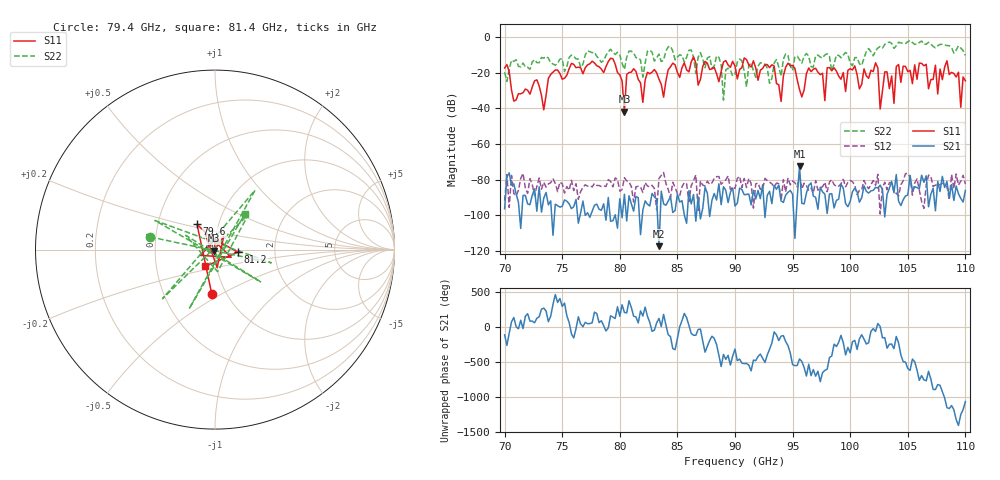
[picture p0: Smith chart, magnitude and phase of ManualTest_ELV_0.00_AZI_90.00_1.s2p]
! 11/25/2026 12:57:13 PM
! C:\ANRITSUVNA\TEMP\TEMP.S2P
! CHANNEL.1
! TR.MEASUREMENT
! RAW.DATA
# HZ S RI R 50.0
! FREQ.HZ  S11RE  S11IM  S21RE  S21IM  S12RE  S12IM  S22RE  S22IM
!; PortSelection: Port_12
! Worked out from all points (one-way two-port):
!   201 points, 70 GHz to 110 GHz, reference 50 ohm
!   highest |S21| = -72.51 dB at 95.6 GHz (marker M1); lowest = -117.3 dB at 83.4 GHz (marker M2)
!   lowest |S11| = -41.9 dB at 80.4 GHz (marker M3), VSWR 1.02, Z = 49.5 - j0.608 ohm
!   |S11| at or under -10 dB: start of sweep to end of sweep
!   |S22| runs from -35.4 to -2.0 dB; largest |S21 - S12| = 0.00018
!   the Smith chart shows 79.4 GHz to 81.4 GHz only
!   S11 on the Smith chart (normalised r, x): 79.4 GHz: 0.86, -0.45; 79.6 GHz: 0.79, +0.23; 81.2 GHz: 1.29, -0.04; 81.4 GHz: 0.88, -0.17
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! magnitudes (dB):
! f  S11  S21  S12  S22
! 70 GHz  -17.4  -96.4  -91.9  -19.8
! 73.4 GHz  -40.9  -90.3  -81.5  -11.8
! 74.2 GHz  -19.7  -111.2  -79.5  -15.2
! 76.8 GHz  -20.7  -92.0  -84.3  -15.4
! 79.4 GHz  -12.2  -103.1  -84.1  -8.7
! 79.6 GHz  -15.2  -99.7  -79.0  -9.8
! 80.4 GHz  -41.9  -88.2  -78.9  -18.1
! 80.6 GHz  -21.1  -103.2  -80.7  -11.4
! 81.2 GHz  -17.8  -97.7  -92.6  -8.9
! 81.4 GHz  -19.3  -89.4  -84.1  -11.6
! 82 GHz  -36.7  -97.1  -87.2  -22.6
! 83.4 GHz  -23.7  -117.3  -79.3  -9.7
! 88.6 GHz  -25.1  -82.3  -78.3  -11.5
! 89 GHz  -14.1  -84.0  -81.4  -35.4
! 90 GHz  -16.4  -94.8  -85.0  -20.8
! 95.6 GHz  -29.4  -72.5  -76.3  -12.7
! 96.8 GHz  -18.1  -89.2  -87.7  -16.9
! 97.8 GHz  -35.7  -88.1  -81.5  -10.1
! 98 GHz  -17.3  -99.0  -86.8  -9.5
! 103.4 GHz  -29.0  -84.9  -81.7  -2.9
! 109.6 GHz  -39.4  -90.5  -80.9  -6.2
! 110 GHz  -24.6  -86.1  -82.6  -10.4
